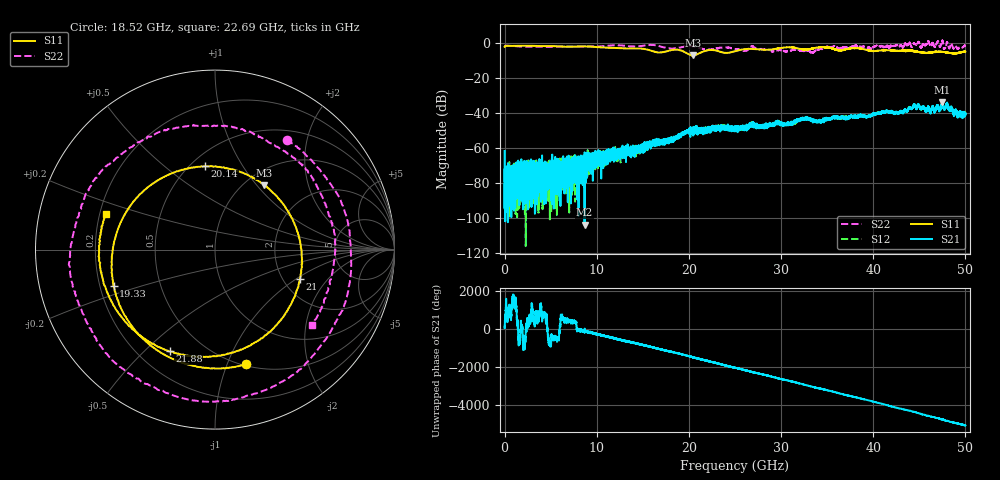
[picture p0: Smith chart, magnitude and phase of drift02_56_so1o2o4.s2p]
!Created with skrf (http://scikit-rf.org).
# Hz S RI R 50.0
!freq ReS11 ImS11 ReS21 ImS21 ReS12 ImS12 ReS22 ImS22
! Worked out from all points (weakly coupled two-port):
!   10001 points, 300 kHz to 50 GHz, reference 50 ohm
!   highest |S21| = -33.70 dB at 47.5 GHz (marker M1); lowest = -103.6 dB at 8.68 GHz (marker M2)
!   lowest |S11| = -6.9 dB at 20.45 GHz (marker M3), VSWR 2.64, Z = 60.9 + j54.7 ohm
!   |S11| at or under -10 dB: nowhere
!   |S22| runs from -5.4 to 1.7 dB; largest |S21 - S12| = 0.004
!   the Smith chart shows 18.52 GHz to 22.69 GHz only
!   S11 on the Smith chart (normalised r, x): 18.52 GHz: 0.51, -1.17; 19.33 GHz: 0.26, -0.16; 20.14 GHz: 0.59, +0.70; 21 GHz: 2.47, -1.06; 21.88 GHz: 0.32, -0.60; 22.69 GHz: 0.23, +0.15
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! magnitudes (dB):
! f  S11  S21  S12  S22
! 300 kHz  -2.1  -61.5  -76.3  -1.3
! 255.3 MHz  -1.4  -70.3  -81.0  -1.4
! 935.3 MHz  -1.5  -71.3  -76.8  -1.5
! 4.265 GHz  -1.6  -75.8  -72.1  -2.0
! 8.335 GHz  -1.7  -71.5  -66.4  -1.9
! 8.68 GHz  -1.7  -103.6  -63.9  -1.9
! 16.67 GHz  -5.2  -56.4  -56.9  -1.5
! 18.52 GHz  -3.6  -53.8  -53.9  -2.7
! 19.33 GHz  -4.4  -51.3  -51.4  -2.1
! 20.14 GHz  -6.6  -49.6  -49.8  -1.5
! 20.45 GHz  -6.9  -49.8  -48.7  -1.7
! 21 GHz  -6.0  -50.1  -49.9  -2.3
! 21.88 GHz  -4.1  -49.4  -50.4  -3.4
! 22.69 GHz  -3.9  -48.4  -47.7  -3.3
! 25 GHz  -4.5  -49.6  -48.8  -3.2
! 26.11 GHz  -3.3  -48.1  -47.1  -4.3
! 26.9 GHz  -3.2  -47.3  -45.9  -1.6
! 33.34 GHz  -3.0  -43.7  -43.8  -5.1
! 34.9 GHz  -2.3  -43.8  -43.2  -2.0
! 41.67 GHz  -3.9  -38.9  -39.2  -2.2
! 47.5 GHz  -4.9  -33.7  -34.0  1.1
! 50 GHz  -4.7  -40.4  -39.9  -1.5
